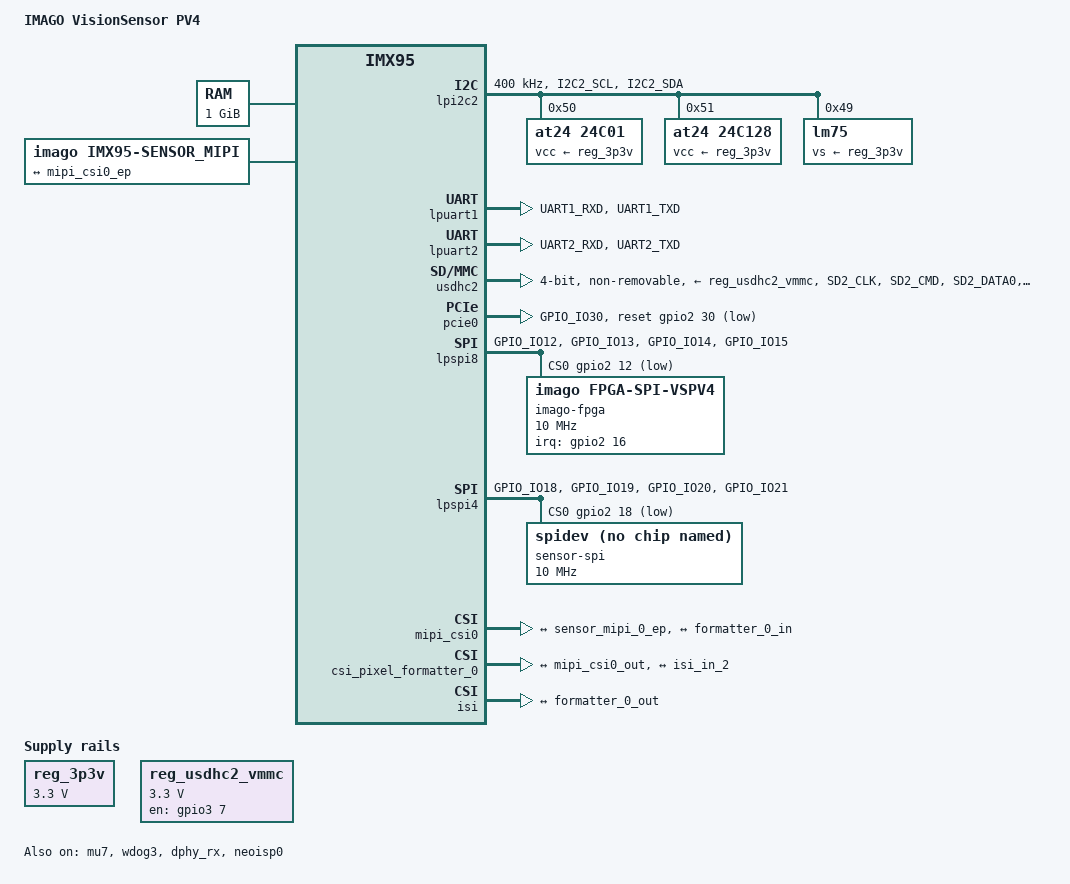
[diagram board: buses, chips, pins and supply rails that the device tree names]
// SPDX-License-Identifier: (GPL-2.0+ OR MIT)
/*
 * Copyright 2025 IMAGO Technologies GmbH
 */

/dts-v1/;

#include <dt-bindings/phy/phy-imx8-pcie.h>
#include "imx95.dtsi"

/ {
	model = "IMAGO VisionSensor PV4";
	compatible = "imago,visionsensor-pv4", "fsl,imx95";

	aliases {
		gpio0 = &gpio1;
		gpio1 = &gpio2;
		gpio2 = &gpio3;
		gpio3 = &gpio4;
		gpio4 = &gpio5;
		i2c0 = &lpi2c1;
		i2c1 = &lpi2c2;
		i2c2 = &lpi2c3;
		i2c3 = &lpi2c4;
		i2c4 = &lpi2c5;
		i2c5 = &lpi2c6;
		i2c6 = &lpi2c7;
		i2c7 = &lpi2c8;
		mmc0 = &usdhc2;
		serial0 = &lpuart2;
		serial1 = &lpuart1;
	};

	chosen {
		stdout-path = &lpuart2;
		#address-cells = <2>;
		#size-cells = <2>;
	};

	memory@80000000 {
		device_type = "memory";
		reg = <0x0 0x80000000 0 0x40000000>;
	};

	reserved-memory {
		#address-cells = <2>;
		#size-cells = <2>;
		ranges;

		linux_cma: linux,cma {
			compatible = "shared-dma-pool";
			reusable;
			size = <0 0x3c000000>;
			alloc-ranges = <0 0x80000000 0 0x7F000000>;
			linux,cma-default;
		};

		vpu_boot: vpu_boot@a0000000 {
			reg = <0 0xa0000000 0 0x100000>;
			no-map;
		};

		mali_protected: mali_protected {
			reg = <0 0xa0100000 0 0x1000000>;
			no-map;
		};

		vdev0vring0: vdev0vring0@88000000 {
			reg = <0 0x88000000 0 0x8000>;
			no-map;
		};

		vdev0vring1: vdev0vring1@88008000 {
			reg = <0 0x88008000 0 0x8000>;
			no-map;
		};

		vdev1vring0: vdev1vring0@88010000 {
			reg = <0 0x88010000 0 0x8000>;
			no-map;
		};

		vdev1vring1: vdev1vring1@88018000 {
			reg = <0 0x88018000 0 0x8000>;
			no-map;
		};

		rsc_table: rsc-table@88220000 {
			reg = <0 0x88220000 0 0x1000>;
			no-map;
		};

		vdevbuffer: vdevbuffer@88020000 {
			compatible = "shared-dma-pool";
			reg = <0 0x88020000 0 0x100000>;
			no-map;
		};

		neutron_mem: neutron_memory@100000000 {
			compatible = "shared-dma-pool";
			reusable;
			reg = <0x1 0x00000000 0x1 0x00000000>;
		};
	};

	reg_3p3v: regulator-3p3v {
		compatible = "regulator-fixed";
		regulator-max-microvolt = <3300000>;
		regulator-min-microvolt = <3300000>;
		regulator-name = "+V3.3_SW";
	};

	reg_usdhc2_vmmc: regulator-usdhc2 {
		compatible = "regulator-fixed";
		pinctrl-names = "default";
		pinctrl-0 = <&pinctrl_reg_usdhc2_vmmc>;
		regulator-name = "VDD_SD2_3V3";
		regulator-min-microvolt = <3300000>;
		regulator-max-microvolt = <3300000>;
		gpio = <&gpio3 7 GPIO_ACTIVE_HIGH>;
		off-on-delay-us = <12000>;
		enable-active-high;
	};

	cm7: imx95-cm7 {
		compatible = "fsl,imx95-cm7";
		mbox-names = "tx", "rx", "rxdb";
		mboxes = <&mu7 0 1
			  &mu7 1 1
			  &mu7 3 1>;
		memory-region = <&vdevbuffer>, <&vdev0vring0>, <&vdev0vring1>,
				<&vdev1vring0>, <&vdev1vring1>, <&rsc_table>;
		/* cpuid and lmmid must align with SM firmware */
		fsl,cpu-id = <1>;
		fsl,lmm-id = <1>;
		fsl,startup-delay-ms = <50>;
		status = "okay";
	};

	sensor_mipi: sensor {
		compatible = "imago,imx95-sensor_mipi";
		status = "okay";
		port {
			sensor_mipi_0_ep: endpoint {
				remote-endpoint = <&mipi_csi0_ep>;
				data-lanes = <1 2 3 4>;
				clock-lanes = <0>;
			};
		};
	};

	mali_pma: protected-memory-allocator {
		 compatible = "arm,protected-memory-allocator";
		 memory-region = <&mali_protected>;
	};
};

&lpi2c2 {
	clock-frequency = <400000>;
	pinctrl-names = "default";
	pinctrl-0 = <&pinctrl_lpi2c2>;
	status = "okay";

	at24@50 {
		compatible = "at24,24c01";
		pagesize = <8>;
		reg = <0x50>;
		vcc-supply = <&reg_3p3v>;
	};

	at24@51 {
		compatible = "at24,24c128";
		pagesize = <16>;
		reg = <0x51>;
		vcc-supply = <&reg_3p3v>;
	};

	lm75: lm75@49 {
		compatible = "lm75";
		reg = <0x49>;
		vs-supply = <&reg_3p3v>;
	};
};

/* UART1: FPGA */
&lpuart1 {
	pinctrl-names = "default";
	pinctrl-0 = <&pinctrl_uart1>;
	status = "okay";
};

/* UART2: console */
&lpuart2 {
	pinctrl-names = "default";
	pinctrl-0 = <&pinctrl_uart2>;
	status = "okay";
};

&mu7 {
	status = "okay";
};

&usdhc2 {
	pinctrl-names = "default", "state_100mhz", "state_200mhz";
	pinctrl-0 = <&pinctrl_usdhc2>;
	pinctrl-1 = <&pinctrl_usdhc2_100mhz>;
	pinctrl-2 = <&pinctrl_usdhc2_200mhz>;
	vmmc-supply = <&reg_usdhc2_vmmc>;
	bus-width = <4>;
	non-removable;
	disable-wp;
	fsl,tuning-step = <1>;
	status = "okay";
};

&thermal_zones {
	pf09 {
		polling-delay-passive = <250>;
		polling-delay = <2000>;
		thermal-sensors = <&scmi_sensor 2>;
		trips {
			pf09_alert: trip0 {
				temperature = <140000>;
				hysteresis = <2000>;
				type = "passive";
			};

			pf09_crit: trip1 {
				temperature = <155000>;
				hysteresis = <2000>;
				type = "critical";
			};
		};
	};

	pf53_arm {
		polling-delay-passive = <250>;
		polling-delay = <2000>;
		thermal-sensors = <&scmi_sensor 4>;
		trips {
			pf5301_alert: trip0 {
				temperature = <140000>;
				hysteresis = <2000>;
				type = "passive";
			};

			pf5301_crit: trip1 {
				temperature = <155000>;
				hysteresis = <2000>;
				type = "critical";
			};
		};

		cooling-maps {
			map0 {
				trip = <&pf5301_alert>;
				cooling-device =
					<&A55_0 THERMAL_NO_LIMIT THERMAL_NO_LIMIT>,
					<&A55_1 THERMAL_NO_LIMIT THERMAL_NO_LIMIT>,
					<&A55_2 THERMAL_NO_LIMIT THERMAL_NO_LIMIT>,
					<&A55_3 THERMAL_NO_LIMIT THERMAL_NO_LIMIT>,
					<&A55_4 THERMAL_NO_LIMIT THERMAL_NO_LIMIT>,
					<&A55_5 THERMAL_NO_LIMIT THERMAL_NO_LIMIT>;
			};
		};
	};

	pf53_soc {
		polling-delay-passive = <250>;
		polling-delay = <2000>;
		thermal-sensors = <&scmi_sensor 3>;
		trips {
			pf5302_alert: trip0 {
				temperature = <140000>;
				hysteresis = <2000>;
				type = "passive";
			};

			pf5302_crit: trip1 {
				temperature = <155000>;
				hysteresis = <2000>;
				type = "critical";
			};
		};
	};
};

/*&scmi_misc {
	nxp,ctrl-ids = <BRD_SM_CTRL_SD3_WAKE		1
			BRD_SM_CTRL_PCIE1_WAKE		1
			BRD_SM_CTRL_BT_WAKE		1
			BRD_SM_CTRL_PCIE2_WAKE		1
			BRD_SM_CTRL_BUTTON		1>;
};*/

&scmi_iomuxc {
	pinctrl-names = "default";
	pinctrl-0 = <&pinctrl_hog>;
	pinctrl_hog: hoggrp {
		fsl,pins = <
			IMX95_PAD_GPIO_IO00__GPIO2_IO_BIT0		0x3fe	/* board type 0 */
			IMX95_PAD_GPIO_IO01__GPIO2_IO_BIT1		0x3fe	/* board type 1 */
			IMX95_PAD_GPIO_IO02__GPIO2_IO_BIT2		0x3fe	/* board type 2 */
		>;
	};

	pinctrl_lpi2c1: lpi2c1grp {
		fsl,pins = <
			IMX95_PAD_I2C1_SCL__AONMIX_TOP_LPI2C1_SCL	0x40000b9e
			IMX95_PAD_I2C1_SDA__AONMIX_TOP_LPI2C1_SDA	0x40000b9e
		>;
	};

	pinctrl_lpi2c2: lpi2c2grp {
		fsl,pins = <
			IMX95_PAD_I2C2_SCL__AONMIX_TOP_LPI2C2_SCL	0x40000b9e
			IMX95_PAD_I2C2_SDA__AONMIX_TOP_LPI2C2_SDA	0x40000b9e
		>;
	};

	pinctrl_uart1: uart1grp {
		fsl,pins = <
			IMX95_PAD_UART1_RXD__AONMIX_TOP_LPUART1_RX  0x31e
			IMX95_PAD_UART1_TXD__AONMIX_TOP_LPUART1_TX  0x31e
		>;
	};

	pinctrl_uart2: uart2grp {
		fsl,pins = <
			IMX95_PAD_UART2_RXD__AONMIX_TOP_LPUART2_RX  0x31e
			IMX95_PAD_UART2_TXD__AONMIX_TOP_LPUART2_TX  0x31e
		>;
	};

	pinctrl_pcie0: pcie0grp {
		fsl,pins = <
			IMX95_PAD_GPIO_IO30__GPIO2_IO_BIT30			0x31e
		>;
	};

	pinctrl_reg_usdhc2_vmmc: regusdhc2vmmcgrp {
		fsl,pins = <
			IMX95_PAD_SD2_RESET_B__GPIO3_IO_BIT7		0x31e
		>;
	};

	pinctrl_usdhc2: usdhc2grp {
		fsl,pins = <
			IMX95_PAD_SD2_CLK__USDHC2_CLK				0x158e
			IMX95_PAD_SD2_CMD__USDHC2_CMD				0x138e
			IMX95_PAD_SD2_DATA0__USDHC2_DATA0			0x138e
			IMX95_PAD_SD2_DATA1__USDHC2_DATA1			0x138e
			IMX95_PAD_SD2_DATA2__USDHC2_DATA2			0x138e
			IMX95_PAD_SD2_DATA3__USDHC2_DATA3			0x138e
			IMX95_PAD_SD2_VSELECT__USDHC2_VSELECT		0x51e
		>;
	};

	pinctrl_usdhc2_100mhz: usdhc2-100mhzgrp {
		fsl,pins = <
			IMX95_PAD_SD2_CLK__USDHC2_CLK				0x158e
			IMX95_PAD_SD2_CMD__USDHC2_CMD				0x138e
			IMX95_PAD_SD2_DATA0__USDHC2_DATA0			0x138e
			IMX95_PAD_SD2_DATA1__USDHC2_DATA1			0x138e
			IMX95_PAD_SD2_DATA2__USDHC2_DATA2			0x138e
			IMX95_PAD_SD2_DATA3__USDHC2_DATA3			0x138e
			IMX95_PAD_SD2_VSELECT__USDHC2_VSELECT		0x51e
		>;
	};

	pinctrl_usdhc2_200mhz: usdhc2-200mhzgrp {
		fsl,pins = <
			IMX95_PAD_SD2_CLK__USDHC2_CLK				0x158e
			IMX95_PAD_SD2_CMD__USDHC2_CMD				0x138e
			IMX95_PAD_SD2_DATA0__USDHC2_DATA0			0x138e
			IMX95_PAD_SD2_DATA1__USDHC2_DATA1			0x138e
			IMX95_PAD_SD2_DATA2__USDHC2_DATA2			0x138e
			IMX95_PAD_SD2_DATA3__USDHC2_DATA3			0x138e
			IMX95_PAD_SD2_VSELECT__USDHC2_VSELECT		0x51e
		>;
	};

	pinctrl_lpspi4: lpspi4grp {
		fsl,pins = <
			IMX95_PAD_GPIO_IO18__GPIO2_IO_BIT18			0x3fe
			IMX95_PAD_GPIO_IO19__LPSPI4_SIN				0x3fe
			IMX95_PAD_GPIO_IO20__LPSPI4_SOUT			0x3fe
			IMX95_PAD_GPIO_IO21__LPSPI4_SCK				0x3fe
		>;
	};
	
	pinctrl_lpspi8: lpspi8grp {
		fsl,pins = <
			IMX95_PAD_GPIO_IO12__GPIO2_IO_BIT12			0x3fe
			IMX95_PAD_GPIO_IO13__LPSPI8_SIN				0x3fe
			IMX95_PAD_GPIO_IO14__LPSPI8_SOUT			0x3fe
			IMX95_PAD_GPIO_IO15__LPSPI8_SCK				0x3fe
		>;
	};

	pinctrl_fpga: fpgagrp {
		fsl,pins = <
			IMX95_PAD_GPIO_IO16__GPIO2_IO_BIT16				0x51e
			IMX95_PAD_CCM_CLKO1__CCMSRCGPCMIX_TOP_CLKO_1	0x51e
		>;
	};
};

&pcie0 {
	pinctrl-0 = <&pinctrl_pcie0>;
	pinctrl-names = "default";
	fsl,refclk-pad-mode = <IMX8_PCIE_REFCLK_PAD_OUTPUT>;
	reset-gpio = <&gpio2 30 GPIO_ACTIVE_LOW>;
	status = "okay";
};

&lpspi8 {
	fsl,spi-num-chipselects = <1>;
	pinctrl-names = "default";
	pinctrl-0 = <&pinctrl_lpspi8>;
	cs-gpios = <&gpio2 12 GPIO_ACTIVE_LOW>;
	status = "okay";

	imago-fpga@0 {
		pinctrl-names = "default";
		pinctrl-0 = <&pinctrl_fpga>;
		clocks = <&scmi_clk IMX95_CLK_CCMCKO1>;
		clock-names = "ccm";
		assigned-clocks = <&scmi_clk IMX95_CLK_CCMCKO1>;
		assigned-clock-parents = <&scmi_clk IMX95_CLK_24M>;
		assigned-clock-rates = <24000000>;
		reg = <0>;
		compatible = "imago,fpga-spi-vspv4";
		interrupt-parent = <&gpio2>;
		interrupts = <16 IRQ_TYPE_EDGE_RISING>;
		spi-max-frequency = <10000000>;
		status = "okay";
	};
};

&vpuctrl {
	boot = <&vpu_boot>;
	sram = <&sram1>;
};

&wdog3 {
	status = "okay";
};

&lpspi4 {
	fsl,spi-num-chipselects = <1>;
	pinctrl-names = "default";
	pinctrl-0 = <&pinctrl_lpspi4>;
	cs-gpios = <&gpio2 18 GPIO_ACTIVE_LOW>;
	status = "okay";

	/* SPI sensor interface is controlled in userspace  */
	sensor-spi@0 {
		/* compatible = "spidev"; */
		compatible = "rohm,dh2228fv"; /* Workaraound for using 'spidev' which would give a kernel warning */
		reg = <0>;
		spi-max-frequency = <10000000>;
	};
};

&dphy_rx {
	status = "okay";
};

&mipi_csi0 {
	status = "okay";

	ports {
		#address-cells = <1>;
		#size-cells = <0>;

		port@0 {
			reg = <0>;
			mipi_csi0_ep: endpoint {
				remote-endpoint = <&sensor_mipi_0_ep>;
				data-lanes = <1 2 3 4>;
				clock-lanes = <0>;
			};
		};

		port@1 {
			reg = <1>;
				mipi_csi0_out: endpoint {
				remote-endpoint = <&formatter_0_in>;
			};
		};
	};
};

&csi_pixel_formatter_0 {
	status = "okay";

	ports {
		#address-cells = <1>;
		#size-cells = <0>;

		port@0 {
			reg = <0>;

			formatter_0_in: endpoint {
				remote-endpoint = <&mipi_csi0_out>;
			};
		};

		port@1 {
			reg = <1>;

			formatter_0_out: endpoint {
				remote-endpoint = <&isi_in_2>;
			};
		};
	};
};

&isi {
	status = "okay";

	ports {
		#address-cells = <1>;
		#size-cells = <0>;

		port@2 {
			reg = <2>;

			isi_in_2: endpoint {
				remote-endpoint = <&formatter_0_out>;
			};
		};
	};
};

&neoisp0 {
	status = "okay";
};

/* imx95-19x19-evk-neutron.dtso */
&neutron {
	memory-region = <&neutron_mem>;
};

&mali {
	protected-memory-allocator = <&mali_pma>;
};
